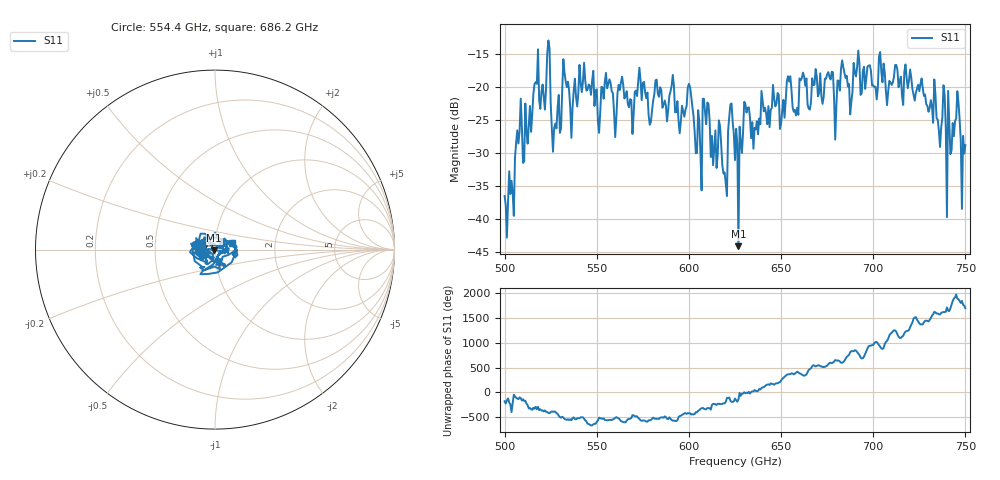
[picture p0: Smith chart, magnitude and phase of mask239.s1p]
!Created with skrf (http://scikit-rf.org).
# GHz S MA R 50.0
!freq magS11 angS11
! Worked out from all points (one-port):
!   401 points, 500 GHz to 750 GHz, reference 50 ohm
!   lowest |S11| = -44.2 dB at 626.9 GHz (marker M1), VSWR 1.01, Z = 49.5 - j0.405 ohm
!   |S11| at or under -10 dB: start of sweep to end of sweep
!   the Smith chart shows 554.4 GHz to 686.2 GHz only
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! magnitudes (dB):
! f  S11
! 500 GHz  -36.5
! 516.9 GHz  -19.3
! 520.6 GHz  -19.6
! 523.8 GHz  -12.9
! 526.9 GHz  -26.2
! 531.2 GHz  -20.5
! 562.5 GHz  -20.5
! 579.4 GHz  -25.3
! 590.6 GHz  -19.8
! 593.8 GHz  -22.2
! 600.6 GHz  -20.0
! 605.6 GHz  -25.1
! 609.4 GHz  -25.6
! 619.4 GHz  -33.0
! 622.5 GHz  -22.7
! 625 GHz  -31.1
! 626.9 GHz  -44.2
! 631.2 GHz  -23.9
! 635 GHz  -29.4
! 656.2 GHz  -23.1
! 676.9 GHz  -18.9
! 680 GHz  -22.8
! 683.8 GHz  -17.0
! 687.5 GHz  -24.2
! 690.6 GHz  -18.4
! 718.8 GHz  -20.2
! 745.6 GHz  -20.6
! 750 GHz  -28.8
